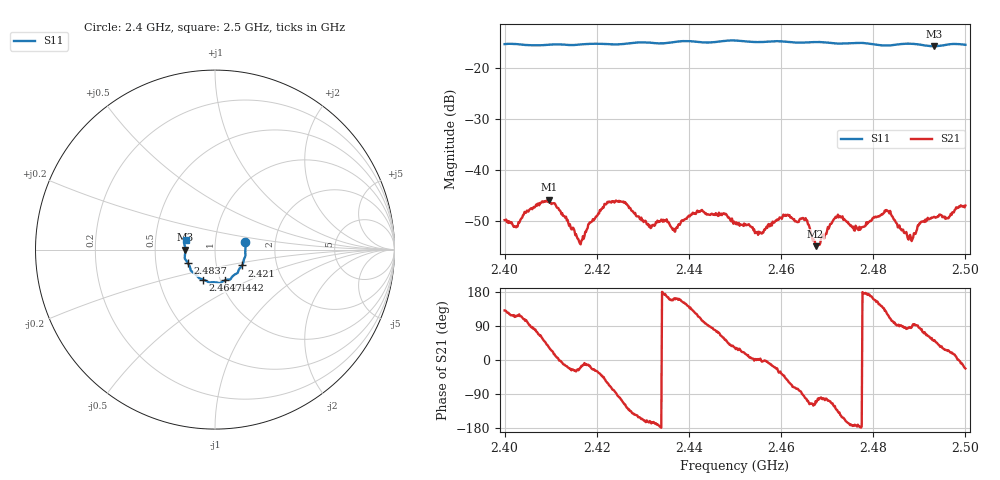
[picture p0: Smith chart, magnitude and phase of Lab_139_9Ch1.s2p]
# Hz S RI R 50
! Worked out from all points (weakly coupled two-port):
!   601 points, 2.4 GHz to 2.5 GHz, reference 50 ohm
!   highest |S21| = -45.83 dB at 2.4097 GHz (marker M1); lowest = -55.0 dB at 2.4675 GHz (marker M2)
!   lowest |S11| = -15.6 dB at 2.4932 GHz (marker M3), VSWR 1.40, Z = 35.8 - j0.086 ohm
!   |S11| at or under -10 dB: start of sweep to end of sweep
!   S12 and S22 are empty: the file has one direction only
!   S11 on the Smith chart (normalised r, x): 2.4 GHz: 1.40, +0.12; 2.421 GHz: 1.33, -0.24; 2.4442 GHz: 1.05, -0.37; 2.4647 GHz: 0.83, -0.29; 2.4837 GHz: 0.73, -0.11; 2.5 GHz: 0.72, +0.08
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2.4e9  0.1689 0.0407  -0.0021 0.00244  0 0  0 0
2.402333e9  0.1715 0.0292  -0.00124 0.00249  0 0  0 0
2.409667e9  0.1695 -0.0266  0.00431 0.00274  0 0  0 0
2.416667e9  0.1585 -0.0683  0.00195 -0.000539  0 0  0 0
2.421e9  0.1509 -0.0882  0.00312 -0.00272  0 0  0 0
2.425333e9  0.1343 -0.1096  -0.00126 -0.00473  0 0  0 0
2.433333e9  0.1081 -0.1398  -0.00305 -0.000442  0 0  0 0
2.437e9  0.0906 -0.1583  -0.00233 0.000844  0 0  0 0
2.444167e9  0.0569 -0.1708  -0.000123 0.00367  0 0  0 0
2.45e9  0.0248 -0.1868  0.00255 0.00163  0 0  0 0
2.4555e9  -0.0109 -0.1817  0.00243 0.000159  0 0  0 0
2.460833e9  -0.0395 -0.1793  0.00246 -0.00255  0 0  0 0
2.464667e9  -0.0671 -0.1667  -4.91e-05 -0.00338  0 0  0 0
2.466667e9  -0.0807 -0.1625  -0.000952 -0.00204  0 0  0 0
2.4675e9  -0.0844 -0.161  -0.000562 -0.00169  0 0  0 0
2.472167e9  -0.1024 -0.1435  -0.00232 -0.00258  0 0  0 0
2.477e9  -0.1324 -0.1198  -0.00276 -0.000254  0 0  0 0
2.483333e9  -0.15 -0.0764  -0.00174 0.00348  0 0  0 0
2.483667e9  -0.1519 -0.0734  -0.00136 0.00373  0 0  0 0
2.488e9  -0.1686 -0.0479  0.000178 0.00229  0 0  0 0
2.493167e9  -0.1654 -0.00117  0.00221 0.00268  0 0  0 0
2.5e9  -0.163 0.0522  0.00414 -0.00171  0 0  0 0
